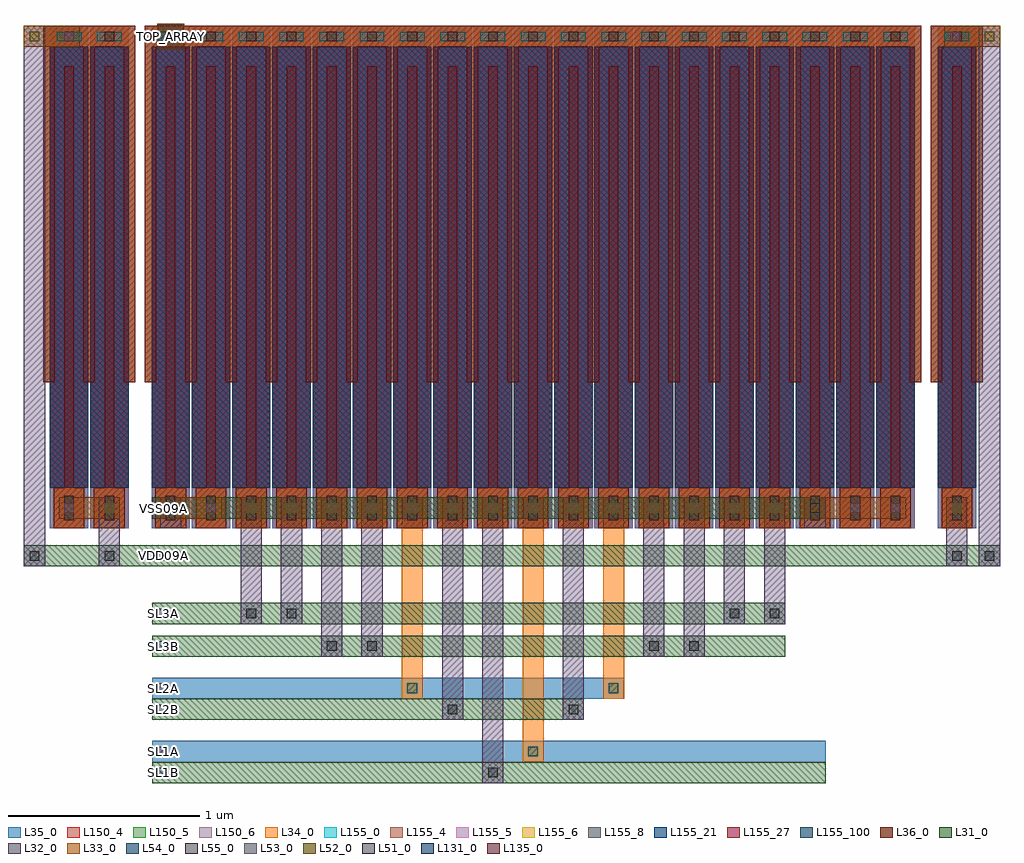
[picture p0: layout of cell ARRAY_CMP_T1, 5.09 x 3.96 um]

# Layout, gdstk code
from math import pi, radians
import gdstk
lib = gdstk.Library(unit=1e-6, precision=1e-09)
def R(c, l, rs):  # rectangles x0, y0, x1, y1
    for r in rs: c.add(gdstk.rectangle(r[:2], r[2:], *l))
def A(c, l, x, y, w, h, nx, ny, dx, dy):  # array of equal rectangles
    R(c, l, [(x+i*dx, y+j*dy, x+i*dx+w, y+j*dy+h) for i in range(nx) for j in range(ny)])
L31_0 = (31, 0)
L32_0 = (32, 0)
L33_0 = (33, 0)
L34_0 = (34, 0)
L35_0 = (35, 0)
L36_0 = (36, 0)
L51_0 = (51, 0)
L52_0 = (52, 0)
L53_0 = (53, 0)
L54_0 = (54, 0)
L55_0 = (55, 0)
L131_0 = (131, 0)
L135_0 = (135, 0)
L150_4 = (150, 4)
L150_5 = (150, 5)
L150_6 = (150, 6)
L155_0 = (155, 0)
L155_4 = (155, 4)
L155_5 = (155, 5)
L155_6 = (155, 6)
L155_8 = (155, 8)
L155_21 = (155, 21)
L155_27 = (155, 27)
L155_100 = (155, 100)

m5_m4_cdns_615939519647 = lib.new_cell('M5_M4_CDNS_615939519647')
R(m5_m4_cdns_615939519647, L34_0, [(-0.07,-0.105,0.07,0.105)])
R(m5_m4_cdns_615939519647, L35_0, [(-0.07,-0.105,0.07,0.105)])
R(m5_m4_cdns_615939519647, L54_0, [(-0.025,-0.065,0.025,0.065)])

m6_m5_cdns_615939519648 = lib.new_cell('M6_M5_CDNS_615939519648')
R(m6_m5_cdns_615939519648, L35_0, [(-0.07,-0.105,0.07,0.105)])
R(m6_m5_cdns_615939519648, L36_0, [(-0.055,-0.105,0.055,0.105)])
R(m6_m5_cdns_615939519648, L55_0, [(-0.025,-0.065,0.025,0.065)])

m5_m4_cdns_615939519649 = lib.new_cell('M5_M4_CDNS_615939519649')
R(m5_m4_cdns_615939519649, L34_0, [(-0.095,-0.055,0.095,0.055)])
R(m5_m4_cdns_615939519649, L35_0, [(-0.12,-0.055,0.12,0.055)])
R(m5_m4_cdns_615939519649, L54_0, [(-0.065,-0.025,0.065,0.025)])

m6_m5_cdns_6159395196410 = lib.new_cell('M6_M5_CDNS_6159395196410')
R(m6_m5_cdns_6159395196410, L35_0, [(-0.055,-0.055,0.055,0.055)])
R(m6_m5_cdns_6159395196410, L36_0, [(-0.055,-0.055,0.055,0.055)])
R(m6_m5_cdns_6159395196410, L55_0, [(-0.025,-0.025,0.025,0.025)])

cu1f = lib.new_cell('CU1F')
R(cu1f, L34_0, [(0.02,0,0.18,0.21), (-0.035,2.51,0.235,2.62)])
R(cu1f, L35_0, [(0.02,0,0.18,0.21), (-0.035,2.51,0.235,2.62)])
R(cu1f, L36_0, [(0.02,0,0.18,0.21), (-0.035,2.51,0.235,2.62)])
R(cu1f, L150_4, [(0,0,0.2,2.62)])
R(cu1f, L150_5, [(0,0,0.2,2.62)])
R(cu1f, L150_6, [(0,0,0.2,2.62)])
R(cu1f, L155_0, [(0,0.21,0.2,2.51)])
R(cu1f, L155_4, [(0,0.21,0.2,2.51)])
R(cu1f, L155_5, [(0,0.21,0.2,2.51)])
R(cu1f, L155_6, [(0,0.21,0.2,2.51)])
R(cu1f, L155_8, [(0,0.21,0.2,2.51)])
R(cu1f, L155_21, [(0,0.21,0.2,2.51)])
R(cu1f, L155_27, [(0,0.21,0.2,2.51)])
R(cu1f, L155_100, [(0,0.21,0.2,2.51)])
cu1f.add(gdstk.FlexPath([(0.205,2.59),(0.205,0.76)], 0.06, ends=(0.03, 0), simple_path=True, layer=34, datatype=0))  # L34_0
cu1f.add(gdstk.FlexPath([(0.1,2.41),(0.1,0)], 0.05, ends="flush", simple_path=True, layer=34, datatype=0))  # L34_0
cu1f.add(gdstk.FlexPath([(-0.005,2.59),(-0.005,0.76)], 0.06, ends=(0.03, 0), simple_path=True, layer=34, datatype=0))  # L34_0
cu1f.add(gdstk.FlexPath([(0.205,0.76),(0.205,2.59)], 0.06, ends=(0, 0.03), simple_path=True, layer=35, datatype=0))  # L35_0
cu1f.add(gdstk.FlexPath([(0.1,2.41),(0.1,0)], 0.05, ends="flush", simple_path=True, layer=35, datatype=0))  # L35_0
cu1f.add(gdstk.FlexPath([(-0.005,0.76),(-0.005,2.59)], 0.06, ends=(0, 0.03), simple_path=True, layer=35, datatype=0))  # L35_0
cu1f.add(gdstk.FlexPath([(0.205,0.76),(0.205,2.59)], 0.06, ends=(0, 0.03), simple_path=True, layer=36, datatype=0))  # L36_0
cu1f.add(gdstk.FlexPath([(0.1,2.41),(0.1,0)], 0.05, ends="flush", simple_path=True, layer=36, datatype=0))  # L36_0
cu1f.add(gdstk.FlexPath([(-0.005,0.76),(-0.005,2.59)], 0.06, ends=(0, 0.03), simple_path=True, layer=36, datatype=0))  # L36_0
cu1f.add(gdstk.Reference(m5_m4_cdns_615939519647, (0.1,0.105), rotation=pi, x_reflection=True))
cu1f.add(gdstk.Reference(m6_m5_cdns_615939519648, (0.1,0.105), rotation=pi, x_reflection=True))
cu1f.add(gdstk.Reference(m5_m4_cdns_615939519649, (0.1,2.565)))
cu1f.add(gdstk.Reference(m6_m5_cdns_6159395196410, (0.1,2.565)))

m2_m1_cdns_615939519640 = lib.new_cell('M2_M1_CDNS_615939519640')
R(m2_m1_cdns_615939519640, L31_0, [(-0.055,-0.055,0.055,0.055)])
R(m2_m1_cdns_615939519640, L32_0, [(-0.055,-0.055,0.055,0.055)])
R(m2_m1_cdns_615939519640, L51_0, [(-0.025,-0.025,0.025,0.025)])

m3_m2_cdns_615939519641 = lib.new_cell('M3_M2_CDNS_615939519641')
R(m3_m2_cdns_615939519641, L32_0, [(-0.055,-0.055,0.055,0.055)])
R(m3_m2_cdns_615939519641, L33_0, [(-0.055,-0.055,0.055,0.055)])
R(m3_m2_cdns_615939519641, L52_0, [(-0.025,-0.025,0.025,0.025)])

m4_m3_cdns_615939519642 = lib.new_cell('M4_M3_CDNS_615939519642')
R(m4_m3_cdns_615939519642, L33_0, [(-0.055,-0.055,0.055,0.055)])
R(m4_m3_cdns_615939519642, L34_0, [(-0.055,-0.055,0.055,0.055)])
R(m4_m3_cdns_615939519642, L53_0, [(-0.025,-0.025,0.025,0.025)])

m4_m3_cdns_615939519643 = lib.new_cell('M4_M3_CDNS_615939519643')
R(m4_m3_cdns_615939519643, L33_0, [(-0.07,-0.065,0.07,0.065)])
R(m4_m3_cdns_615939519643, L34_0, [(-0.055,-0.055,0.055,0.055)])
R(m4_m3_cdns_615939519643, L53_0, [(-0.025,-0.025,0.025,0.025)])

m3_m2_cdns_615939519644 = lib.new_cell('M3_M2_CDNS_615939519644')
R(m3_m2_cdns_615939519644, L32_0, [(-0.065,-0.06,0.065,0.06)])
R(m3_m2_cdns_615939519644, L33_0, [(-0.07,-0.065,0.07,0.065)])
R(m3_m2_cdns_615939519644, L52_0, [(-0.025,-0.025,0.025,0.025)])

m2_m1_cdns_615939519645 = lib.new_cell('M2_M1_CDNS_615939519645')
R(m2_m1_cdns_615939519645, L31_0, [(-0.055,-0.055,0.055,0.055)])
R(m2_m1_cdns_615939519645, L32_0, [(-0.065,-0.06,0.065,0.06)])
R(m2_m1_cdns_615939519645, L51_0, [(-0.025,-0.025,0.025,0.025)])

m5_m4_cdns_615939519646 = lib.new_cell('M5_M4_CDNS_615939519646')
R(m5_m4_cdns_615939519646, L34_0, [(-0.055,-0.055,0.055,0.055)])
R(m5_m4_cdns_615939519646, L35_0, [(-0.055,-0.055,0.055,0.055)])
R(m5_m4_cdns_615939519646, L54_0, [(-0.025,-0.025,0.025,0.025)])

array_cmp_t1 = lib.new_cell('ARRAY_CMP_T1')
R(array_cmp_t1, L31_0, [(0.535,-1.33,4.045,-1.22), (0.535,-1,2.785,-0.89), (0.535,-0.67,3.835,-0.56), (0.535,-0.5,3.835,-0.39), (-0.135,-0.2,4.955,-0.09), (0.535,0.05,4.045,0.16), (0.56,2.5,0.7,2.63)])
R(array_cmp_t1, L32_0, [(2.255,-1.33,2.365,0.16), (2.045,-1,2.155,0.16), (2.675,-1,2.785,0.16), (1.415,-0.67,1.525,0.16), (1.625,-0.67,1.735,0.16), (3.095,-0.67,3.205,0.16), (3.305,-0.67,3.415,0.16), (0.995,-0.5,1.105,0.16), (1.205,-0.5,1.315,0.16), (3.515,-0.5,3.625,0.16), (3.725,-0.5,3.835,0.16), (-0.135,-0.2,-0.025,2.62), (0.255,-0.2,0.365,0.16), (4.675,-0.2,4.785,0.16), (4.845,-0.2,4.955,2.62), (0.575,0,0.685,0.16), (3.935,0,4.045,0.16)])
A(array_cmp_t1, L33_0, 0.995, 0, 0.11, 0.16, 14, 1, 0.21, 0)
R(array_cmp_t1, L33_0, [(4.675,0,4.785,0.16), (0.045,0.05,0.365,0.16), (0.575,0.05,0.895,0.16), (3.935,0.05,4.465,0.16), (-0.135,2.51,0.155,2.62), (4.665,2.51,4.955,2.62)])
R(array_cmp_t1, L34_0, [(2.465,-1.22,2.575,0.16), (1.835,-0.89,1.945,0.16), (2.885,-0.89,2.995,0.16)])
R(array_cmp_t1, L35_0, [(0.535,-1.22,4.045,-1.11), (0.535,-0.89,2.995,-0.78)])
A(array_cmp_t1, L131_0, 0.565, -1.3, 0.05, 0.05, 1, 3, 0, 0.33)
R(array_cmp_t1, L131_0, [(0.565,-0.47,0.615,-0.42), (0.565,-0.17,0.615,-0.12), (0.565,0.08,0.615,0.13), (0.605,2.54,0.655,2.59)])
R(array_cmp_t1, L135_0, [(0.565,-1.19,0.615,-1.14), (0.565,-0.86,0.615,-0.81)])
array_cmp_t1.add(gdstk.Reference(cu1f, (0,0)))
array_cmp_t1.add(gdstk.Reference(cu1f, (0.21,0)))
array_cmp_t1.add(gdstk.Reference(cu1f, (0.53,0)))
array_cmp_t1.add(gdstk.Reference(cu1f, (0.74,0)))
array_cmp_t1.add(gdstk.Reference(cu1f, (4.63,0)))
array_cmp_t1.add(gdstk.Reference(cu1f, (4.31,0)))
array_cmp_t1.add(gdstk.Reference(cu1f, (4.1,0)))
array_cmp_t1.add(gdstk.Reference(cu1f, (3.89,0)))
array_cmp_t1.add(gdstk.Reference(cu1f, (3.68,0)))
array_cmp_t1.add(gdstk.Reference(cu1f, (3.47,0)))
array_cmp_t1.add(gdstk.Reference(cu1f, (3.26,0)))
array_cmp_t1.add(gdstk.Reference(cu1f, (3.05,0)))
array_cmp_t1.add(gdstk.Reference(cu1f, (2.84,0)))
array_cmp_t1.add(gdstk.Reference(cu1f, (2.63,0)))
array_cmp_t1.add(gdstk.Reference(cu1f, (2.42,0)))
array_cmp_t1.add(gdstk.Reference(cu1f, (2.21,0)))
array_cmp_t1.add(gdstk.Reference(cu1f, (2,0)))
array_cmp_t1.add(gdstk.Reference(cu1f, (1.79,0)))
array_cmp_t1.add(gdstk.Reference(cu1f, (1.58,0)))
array_cmp_t1.add(gdstk.Reference(cu1f, (1.37,0)))
array_cmp_t1.add(gdstk.Reference(cu1f, (1.16,0)))
array_cmp_t1.add(gdstk.Reference(cu1f, (0.95,0)))
array_cmp_t1.add(gdstk.Reference(m2_m1_cdns_615939519640, (1.05,-0.445)))
array_cmp_t1.add(gdstk.Reference(m2_m1_cdns_615939519640, (4.9,-0.145)))
array_cmp_t1.add(gdstk.Reference(m2_m1_cdns_615939519640, (-0.08,-0.145)))
array_cmp_t1.add(gdstk.Reference(m2_m1_cdns_615939519640, (3.99,0.105)))
array_cmp_t1.add(gdstk.Reference(m2_m1_cdns_615939519640, (3.57,-0.445)))
array_cmp_t1.add(gdstk.Reference(m2_m1_cdns_615939519640, (4.73,-0.145)))
array_cmp_t1.add(gdstk.Reference(m2_m1_cdns_615939519640, (0.31,-0.145)))
array_cmp_t1.add(gdstk.Reference(m2_m1_cdns_615939519640, (2.31,-1.275)))
array_cmp_t1.add(gdstk.Reference(m2_m1_cdns_615939519640, (3.78,-0.445)))
array_cmp_t1.add(gdstk.Reference(m2_m1_cdns_615939519640, (2.1,-0.945)))
array_cmp_t1.add(gdstk.Reference(m2_m1_cdns_615939519640, (2.73,-0.945)))
array_cmp_t1.add(gdstk.Reference(m2_m1_cdns_615939519640, (1.68,-0.615)))
array_cmp_t1.add(gdstk.Reference(m2_m1_cdns_615939519640, (1.47,-0.615)))
array_cmp_t1.add(gdstk.Reference(m2_m1_cdns_615939519640, (3.15,-0.615)))
array_cmp_t1.add(gdstk.Reference(m2_m1_cdns_615939519640, (3.36,-0.615)))
array_cmp_t1.add(gdstk.Reference(m2_m1_cdns_615939519640, (1.26,-0.445)))
array_cmp_t1.add(gdstk.Reference(m2_m1_cdns_615939519640, (0.63,0.105)))
array_cmp_t1.add(gdstk.Reference(m3_m2_cdns_615939519641, (4.9,2.565)))
array_cmp_t1.add(gdstk.Reference(m3_m2_cdns_615939519641, (-0.08,2.565)))
array_cmp_t1.add(gdstk.Reference(m3_m2_cdns_615939519641, (1.05,0.105)))
array_cmp_t1.add(gdstk.Reference(m3_m2_cdns_615939519641, (1.26,0.105)))
array_cmp_t1.add(gdstk.Reference(m3_m2_cdns_615939519641, (1.47,0.105)))
array_cmp_t1.add(gdstk.Reference(m3_m2_cdns_615939519641, (1.68,0.105)))
array_cmp_t1.add(gdstk.Reference(m3_m2_cdns_615939519641, (1.89,0.105)))
array_cmp_t1.add(gdstk.Reference(m3_m2_cdns_615939519641, (2.1,0.105)))
array_cmp_t1.add(gdstk.Reference(m3_m2_cdns_615939519641, (2.31,0.105)))
array_cmp_t1.add(gdstk.Reference(m3_m2_cdns_615939519641, (2.52,0.105)))
array_cmp_t1.add(gdstk.Reference(m3_m2_cdns_615939519641, (2.73,0.105)))
array_cmp_t1.add(gdstk.Reference(m3_m2_cdns_615939519641, (2.94,0.105)))
array_cmp_t1.add(gdstk.Reference(m3_m2_cdns_615939519641, (3.15,0.105)))
array_cmp_t1.add(gdstk.Reference(m3_m2_cdns_615939519641, (3.36,0.105)))
array_cmp_t1.add(gdstk.Reference(m3_m2_cdns_615939519641, (3.57,0.105)))
array_cmp_t1.add(gdstk.Reference(m3_m2_cdns_615939519641, (3.78,0.105)))
array_cmp_t1.add(gdstk.Reference(m3_m2_cdns_615939519641, (4.73,0.105)))
array_cmp_t1.add(gdstk.Reference(m3_m2_cdns_615939519641, (3.99,0.105)))
array_cmp_t1.add(gdstk.Reference(m3_m2_cdns_615939519641, (0.63,0.105)))
array_cmp_t1.add(gdstk.Reference(m3_m2_cdns_615939519641, (0.31,0.105)))
array_cmp_t1.add(gdstk.Reference(m4_m3_cdns_615939519642, (4.72,2.565), rotation=pi, x_reflection=True))
array_cmp_t1.add(gdstk.Reference(m4_m3_cdns_615939519642, (0.1,2.565)))
array_cmp_t1.add(gdstk.Reference(m4_m3_cdns_615939519642, (1.05,0.105)))
array_cmp_t1.add(gdstk.Reference(m4_m3_cdns_615939519642, (1.26,0.105)))
array_cmp_t1.add(gdstk.Reference(m4_m3_cdns_615939519642, (1.47,0.105)))
array_cmp_t1.add(gdstk.Reference(m4_m3_cdns_615939519642, (1.68,0.105)))
array_cmp_t1.add(gdstk.Reference(m4_m3_cdns_615939519642, (1.89,0.105)))
array_cmp_t1.add(gdstk.Reference(m4_m3_cdns_615939519642, (2.1,0.105)))
array_cmp_t1.add(gdstk.Reference(m4_m3_cdns_615939519642, (2.31,0.105)))
array_cmp_t1.add(gdstk.Reference(m4_m3_cdns_615939519642, (2.52,0.105)))
array_cmp_t1.add(gdstk.Reference(m4_m3_cdns_615939519642, (2.73,0.105)))
array_cmp_t1.add(gdstk.Reference(m4_m3_cdns_615939519642, (2.94,0.105)))
array_cmp_t1.add(gdstk.Reference(m4_m3_cdns_615939519642, (3.15,0.105)))
array_cmp_t1.add(gdstk.Reference(m4_m3_cdns_615939519642, (3.36,0.105)))
array_cmp_t1.add(gdstk.Reference(m4_m3_cdns_615939519642, (3.57,0.105)))
array_cmp_t1.add(gdstk.Reference(m4_m3_cdns_615939519642, (3.78,0.105)))
array_cmp_t1.add(gdstk.Reference(m4_m3_cdns_615939519642, (4.73,0.105)))
array_cmp_t1.add(gdstk.Reference(m4_m3_cdns_615939519642, (4.2,0.105)))
array_cmp_t1.add(gdstk.Reference(m4_m3_cdns_615939519642, (4.41,0.105)))
array_cmp_t1.add(gdstk.Reference(m4_m3_cdns_615939519642, (3.99,0.105)))
array_cmp_t1.add(gdstk.Reference(m4_m3_cdns_615939519642, (0.84,0.105)))
array_cmp_t1.add(gdstk.Reference(m4_m3_cdns_615939519642, (0.63,0.105)))
array_cmp_t1.add(gdstk.Reference(m4_m3_cdns_615939519642, (0.1,0.105)))
array_cmp_t1.add(gdstk.Reference(m4_m3_cdns_615939519642, (0.31,0.105)))
array_cmp_t1.add(gdstk.Reference(m4_m3_cdns_615939519643, (0.63,2.565)))
array_cmp_t1.add(gdstk.Reference(m3_m2_cdns_615939519644, (0.63,2.565)))
array_cmp_t1.add(gdstk.Reference(m2_m1_cdns_615939519645, (0.63,2.565)))
array_cmp_t1.add(gdstk.Reference(m5_m4_cdns_615939519646, (1.89,-0.835)))
array_cmp_t1.add(gdstk.Reference(m5_m4_cdns_615939519646, (2.94,-0.835)))
array_cmp_t1.add(gdstk.Reference(m5_m4_cdns_615939519646, (2.52,-1.165)))
array_cmp_t1.add(gdstk.Label('SL1A', (0.59,-1.165), layer=135, texttype=0))
array_cmp_t1.add(gdstk.Label('SL2A', (0.59,-0.835), layer=135, texttype=0))
array_cmp_t1.add(gdstk.Label('VDD09A', (0.59,-0.145), layer=131, texttype=0))
array_cmp_t1.add(gdstk.Label('SL3A', (0.59,-0.445), layer=131, texttype=0))
array_cmp_t1.add(gdstk.Label('SL3B', (0.59,-0.615), layer=131, texttype=0))
array_cmp_t1.add(gdstk.Label('VSS09A', (0.59,0.105), layer=131, texttype=0))
array_cmp_t1.add(gdstk.Label('SL1B', (0.59,-1.275), layer=131, texttype=0))
array_cmp_t1.add(gdstk.Label('SL2B', (0.59,-0.945), layer=131, texttype=0))
array_cmp_t1.add(gdstk.Label('TOP_ARRAY', (0.628,2.565), layer=131, texttype=0))

lib.write_gds('ARRAY_CMP_T1.gds')
